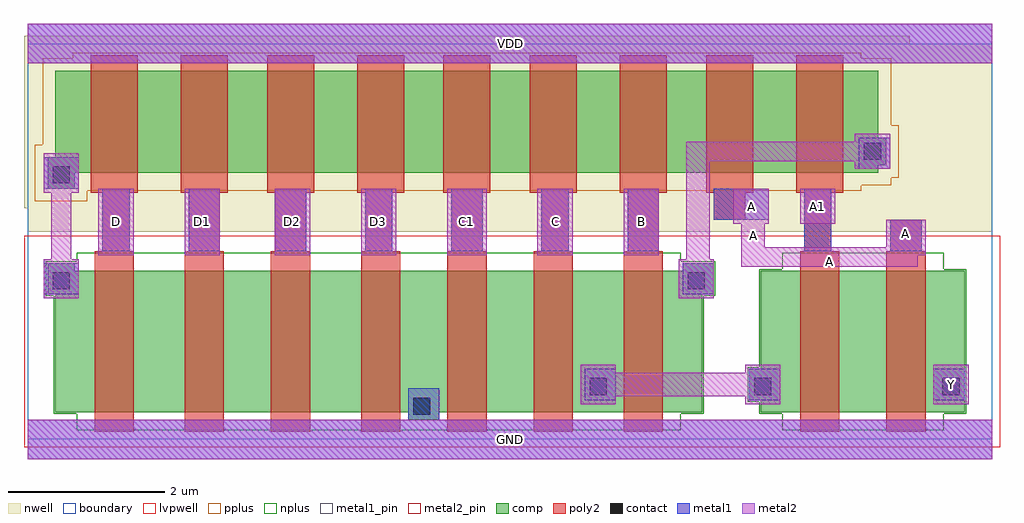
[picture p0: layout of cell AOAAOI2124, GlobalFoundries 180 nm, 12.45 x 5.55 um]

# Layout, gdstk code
import gdstk
lib = gdstk.Library(unit=1e-6, precision=1e-09)
def R(c, l, rs):  # rectangles x0, y0, x1, y1
    for r in rs: c.add(gdstk.rectangle(r[:2], r[2:], *l))
def A(c, l, x, y, w, h, nx, ny, dx, dy):  # array of equal rectangles
    R(c, l, [(x+i*dx, y+j*dy, x+i*dx+w, y+j*dy+h) for i in range(nx) for j in range(ny)])
boundary = (0, 0)
nwell = (21, 0)
comp = (22, 0)
poly2 = (30, 0)
pplus = (31, 0)
nplus = (32, 0)
contact = (33, 0)
metal1 = (34, 0)
metal1_pin = (34, 10)
metal2 = (36, 0)
metal2_pin = (36, 10)
lvpwell = (204, 0)

aoaaoi2124 = lib.new_cell('AOAAOI2124')
R(aoaaoi2124, boundary, [(0,0,12.3,5.05)])
R(aoaaoi2124, nwell, [(0,2.65,12.3,2.95), (-0.05,2.95,12.3,5.05), (-0.05,5.05,11.25,5.15)])
R(aoaaoi2124, comp, [(4.85,0.25,5.25,0.35), (0.35,0.35,8.6,1.85), (9.35,0.35,11.95,0.5), (9.2,0.5,11.95,0.9), (9.35,0.9,11.95,2.15), (0.25,1.85,8.75,2.15), (0.25,2.15,0.6,2.25), (8.35,2.15,8.75,2.25), (0.25,3.2,0.6,3.4), (0.25,3.4,10.85,3.5), (0.25,3.5,10.95,3.6), (0.35,3.6,10.95,3.85), (0.35,3.85,10.85,4.7)])
A(aoaaoi2124, poly2, 4.25, 0.1, 0.5, 2.3, 3, 1, 1.1, 0)
A(aoaaoi2124, poly2, 3.15, 2.4, 0.4, 0.75, 3, 1, 2.25, 0)
A(aoaaoi2124, poly2, 4.2, 3.15, 0.6, 1.75, 3, 1, 1.1, 0)
R(aoaaoi2124, poly2, [(0.85,0.1,1.35,2.4), (2,0.1,2.5,2.4), (3.1,0.1,3.6,2.4), (7.6,0.1,8.1,2.4), (9.85,0.1,10.35,2.4), (10.95,0.1,11.45,2.4), (0.95,2.4,1.3,3.15), (2.05,2.4,2.45,3.15), (4.3,2.4,4.65,3.15), (6.55,2.4,6.9,3.15), (9.9,2.4,10.25,3.15), (11,2.4,11.4,2.8), (8.75,2.8,9.15,3.15), (0.8,3.15,1.4,4.9), (1.95,3.15,2.55,4.9), (3.05,3.15,3.65,4.9), (7.55,3.15,8.15,4.9), (8.65,3.15,9.25,4.9), (9.8,3.15,10.4,4.9)])
R(aoaaoi2124, pplus, [(0.09,3.04,0.76,3.17), (0.09,3.17,10.63,3.24), (0.09,3.24,11.01,3.34), (0.09,3.34,11.11,3.76), (0.19,3.76,11.11,4.01), (0.19,4.01,11.01,4.86), (0.57,4.86,10.63,4.93)])
R(aoaaoi2124, nplus, [(0.62,0.12,8.33,0.33), (9.62,0.12,11.68,0.33), (0.33,0.33,8.62,1.83), (9.33,0.33,11.97,0.48), (9.18,0.48,11.97,0.92), (9.33,0.92,11.97,2.17), (0.23,1.83,8.77,2.27), (9.62,2.17,11.68,2.38), (0.62,2.27,8.33,2.38)])
R(aoaaoi2124, contact, [(4.915,0.315,5.135,0.535), (7.165,0.565,7.385,0.785), (9.265,0.565,9.485,0.785), (11.665,0.565,11.885,0.785), (0.315,1.915,0.535,2.135), (8.415,1.915,8.635,2.135), (0.315,3.265,0.535,3.485), (10.665,3.565,10.885,3.785)])
A(aoaaoi2124, metal1, 3.15, 2.4, 0.4, 0.8, 3, 1, 2.25, 0)
R(aoaaoi2124, metal1, [(0,-0.25,12.3,0.25), (4.85,0.25,5.25,0.65), (7.1,0.5,7.5,0.9), (9.2,0.5,9.6,0.9), (11.55,0.5,11.95,0.9), (0.2,1.85,0.65,2.25), (8.35,1.85,8.75,2.25), (0.95,2.4,1.3,3.2), (2.05,2.4,2.45,3.2), (4.3,2.4,4.65,3.2), (6.55,2.4,6.9,3.2), (9.9,2.4,10.25,3.2), (11,2.4,11.4,2.8), (8.75,2.8,9.45,3.2), (0.2,3.2,0.65,3.6), (10.6,3.45,11,3.85), (0,4.8,12.3,5.3)])
R(aoaaoi2124, metal1_pin, [(0,-0.25,12.3,0.25), (0,4.8,12.3,5.3)])
R(aoaaoi2124, metal2, [(0,-0.25,12.3,0.25), (7.05,0.45,7.5,0.55), (9.15,0.45,9.6,0.55), (11.55,0.45,12,0.95), (7.05,0.55,9.6,0.85), (7.05,0.85,7.5,0.95), (9.15,0.85,9.6,0.95), (0.2,1.8,0.65,2.3), (8.3,1.8,8.75,2.3), (9.1,2.2,11.35,2.35), (0.3,2.3,0.55,3.15), (8.4,2.3,8.7,3.55), (0.9,2.35,1.35,3.2), (2,2.35,2.45,3.2), (3.15,2.35,3.6,3.2), (4.25,2.35,4.7,3.2), (5.35,2.35,5.85,3.2), (6.5,2.35,6.95,3.2), (7.6,2.35,8.05,3.2), (9.1,2.35,11.45,2.45), (9.1,2.45,9.4,2.75), (10.95,2.45,11.45,2.8), (9,2.75,9.45,3.2), (9.85,2.75,10.3,3.2), (0.2,3.15,0.65,3.65), (10.55,3.45,11,3.55), (8.4,3.55,11,3.8), (10.55,3.8,11,3.9), (0,4.8,12.3,5.3)])
R(aoaaoi2124, metal2_pin, [(11.55,0.45,12,0.95), (9.1,2.2,11.35,2.35), (0.9,2.35,1.35,3.2), (2,2.35,2.45,3.2), (3.15,2.35,3.6,3.2), (4.25,2.35,4.7,3.2), (5.35,2.35,5.85,3.2), (6.5,2.35,6.95,3.2), (7.6,2.35,8.05,3.2), (9.1,2.35,11.45,2.45), (9.1,2.45,9.4,2.75), (10.95,2.45,11.45,2.8), (9,2.75,9.45,3.2), (9.85,2.75,10.3,3.2)])
R(aoaaoi2124, lvpwell, [(-0.05,-0.1,12.4,2.6)])
aoaaoi2124.add(gdstk.Label('VDD', (6.15,5.05), layer=34, texttype=10))
aoaaoi2124.add(gdstk.Label('GND', (6.15,0), layer=34, texttype=10))
aoaaoi2124.add(gdstk.Label('Y', (11.775,0.7), layer=36, texttype=10))
aoaaoi2124.add(gdstk.Label('C1', (5.6,2.775), layer=36, texttype=10))
aoaaoi2124.add(gdstk.Label('D1', (2.225,2.775), layer=36, texttype=10))
aoaaoi2124.add(gdstk.Label('D2', (3.375,2.775), layer=36, texttype=10))
aoaaoi2124.add(gdstk.Label('D', (1.125,2.775), layer=36, texttype=10))
aoaaoi2124.add(gdstk.Label('D3', (4.475,2.775), layer=36, texttype=10))
aoaaoi2124.add(gdstk.Label('C', (6.725,2.775), layer=36, texttype=10))
aoaaoi2124.add(gdstk.Label('A', (10.225,2.275), layer=36, texttype=10))
aoaaoi2124.add(gdstk.Label('A', (10.275,2.4), layer=36, texttype=10))
aoaaoi2124.add(gdstk.Label('A', (9.25,2.6), layer=36, texttype=10))
aoaaoi2124.add(gdstk.Label('A', (11.2,2.625), layer=36, texttype=10))
aoaaoi2124.add(gdstk.Label('A', (9.225,2.975), layer=36, texttype=10))
aoaaoi2124.add(gdstk.Label('A1', (10.075,2.975), layer=36, texttype=10))
aoaaoi2124.add(gdstk.Label('B', (7.825,2.775), layer=36, texttype=10))

lib.write_gds('AOAAOI2124.gds')
